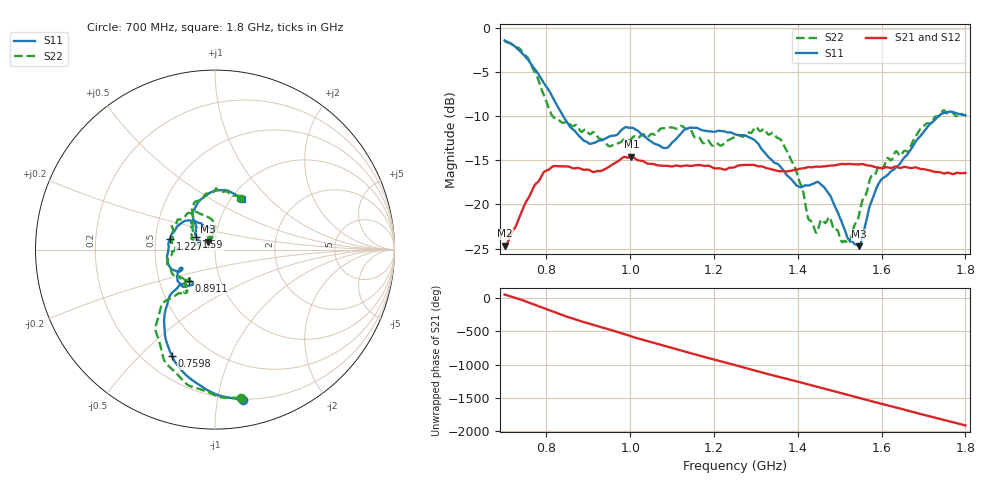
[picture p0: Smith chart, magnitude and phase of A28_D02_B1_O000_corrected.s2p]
! Created with skrf 1.9.0 (http://scikit-rf.org).
# Hz S RI R 50.0
!freq ReS11 ImS11 ReS21 ImS21 ReS12 ImS12 ReS22 ImS22
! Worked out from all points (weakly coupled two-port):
!   1601 points, 700 MHz to 1.8 GHz, reference 50 ohm
!   highest |S21| = -14.60 dB at 1.002 GHz (marker M1); lowest = -24.7 dB at 701.4 MHz (marker M2)
!   lowest |S11| = -24.7 dB at 1.546 GHz (marker M3), VSWR 1.12, Z = 46.2 + j4.11 ohm
!   |S11| at or under -10 dB: 840.1 MHz to 1.735 GHz (895 MHz wide, 69.5 % of centre)
!   |S22| runs from -24.5 to -1.5 dB; largest |S21 - S12| = 0.0035
!   S11 on the Smith chart (normalised r, x): 700 MHz: 0.20, -1.19; 759.8 MHz: 0.31, -0.63; 891.1 MHz: 0.71, -0.26; 1.227 GHz: 0.59, +0.08; 1.59 GHz: 0.80, +0.12; 1.8 GHz: 1.12, +0.71
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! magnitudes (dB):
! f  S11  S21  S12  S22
! 700 MHz  -1.4  -24.7  -24.5  -1.5
! 701.4 MHz  -1.4  -24.7  -24.3  -1.6
! 759.8 MHz  -3.9  -19.0  -18.9  -3.8
! 814.1 MHz  -7.8  -15.7  -15.8  -10.0
! 883.6 MHz  -12.5  -16.0  -15.9  -11.8
! 891.1 MHz  -12.8  -16.1  -16.1  -11.5
! 950.2 MHz  -12.3  -15.7  -15.7  -13.4
! 1.002 GHz  -11.3  -14.6  -14.7  -12.6
! 1.067 GHz  -13.3  -15.6  -15.5  -11.7
! 1.141 GHz  -11.3  -15.6  -15.6  -11.4
! 1.227 GHz  -11.7  -16.1  -16.0  -12.9
! 1.25 GHz  -12.0  -15.8  -15.7  -12.3
! 1.359 GHz  -15.7  -16.2  -16.2  -12.6
! 1.394 GHz  -17.7  -16.1  -16.1  -15.8
! 1.434 GHz  -17.7  -15.8  -15.7  -22.0
! 1.473 GHz  -18.7  -15.6  -15.6  -21.5
! 1.52 GHz  -23.9  -15.4  -15.4  -24.4
! 1.546 GHz  -24.7  -15.5  -15.4  -21.1
! 1.59 GHz  -17.9  -15.8  -15.8  -15.9
! 1.617 GHz  -16.5  -15.8  -15.8  -14.8
! 1.738 GHz  -9.9  -16.3  -16.4  -10.0
! 1.8 GHz  -9.9  -16.4  -16.4  -9.9
